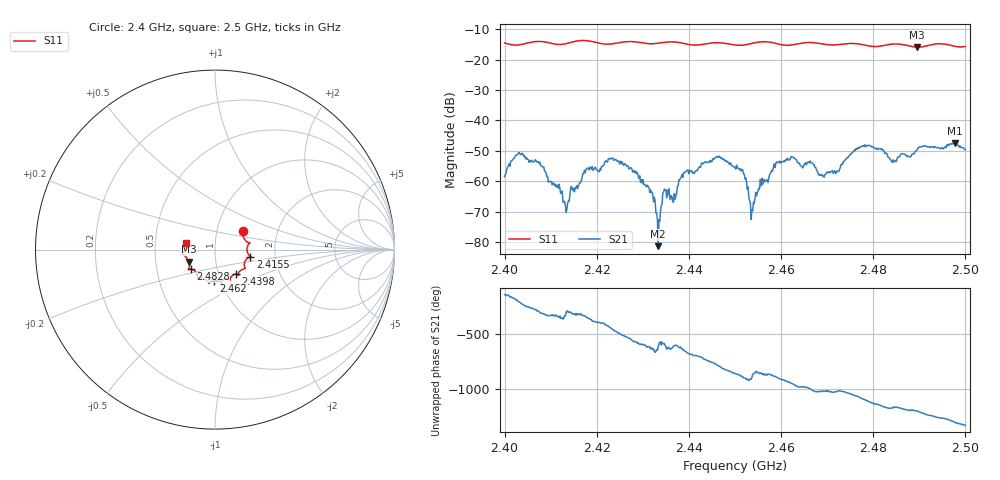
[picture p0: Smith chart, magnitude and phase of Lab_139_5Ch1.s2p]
# Hz S RI R 50
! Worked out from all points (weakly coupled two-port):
!   601 points, 2.4 GHz to 2.5 GHz, reference 50 ohm
!   highest |S21| = -47.43 dB at 2.4977 GHz (marker M1); lowest = -81.4 dB at 2.4333 GHz (marker M2)
!   lowest |S11| = -15.9 dB at 2.4895 GHz (marker M3), VSWR 1.38, Z = 37 - j5.06 ohm
!   |S11| at or under -10 dB: start of sweep to end of sweep
!   S12 and S22 are empty: the file has one direction only
!   S11 on the Smith chart (normalised r, x): 2.4 GHz: 1.33, +0.29; 2.4155 GHz: 1.49, -0.12; 2.4398 GHz: 1.21, -0.34; 2.462 GHz: 0.93, -0.33; 2.4828 GHz: 0.74, -0.17; 2.5 GHz: 0.72, +0.06
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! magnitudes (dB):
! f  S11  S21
! 2.4 GHz  -14.5  -58.5
! 2.4035 GHz  -15.0  -51.3
! 2.4132 GHz  -14.8  -67.6
! 2.4155 GHz  -13.9  -62.2
! 2.4167 GHz  -13.7  -59.7
! 2.4257 GHz  -14.2  -54.3
! 2.4315 GHz  -14.8  -63.7
! 2.4333 GHz  -14.6  -81.4
! 2.4348 GHz  -14.3  -62.8
! 2.4368 GHz  -14.2  -64.0
! 2.4398 GHz  -15.0  -56.4
! 2.45 GHz  -15.2  -55.5
! 2.4537 GHz  -14.6  -69.4
! 2.462 GHz  -15.2  -52.7
! 2.4667 GHz  -14.4  -54.0
! 2.469 GHz  -14.8  -58.3
! 2.4777 GHz  -15.1  -48.4
! 2.4828 GHz  -15.2  -50.8
! 2.4833 GHz  -15.0  -52.2
! 2.4895 GHz  -15.9  -49.8
! 2.4977 GHz  -15.6  -47.4
! 2.5 GHz  -15.7  -49.6
